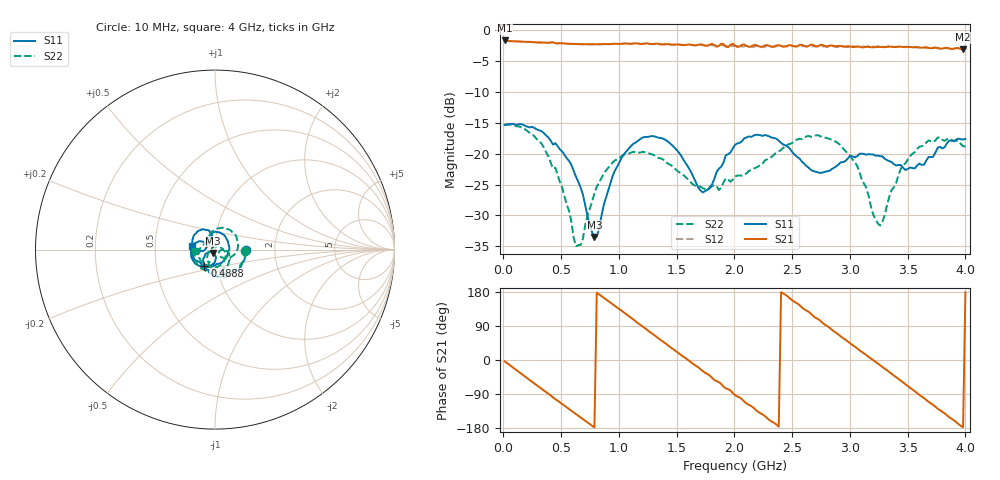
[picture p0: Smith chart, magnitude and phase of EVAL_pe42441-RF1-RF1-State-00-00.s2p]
! 9/28/2016 2:45:29 PM
! C:\USERS\ANRITSUUSER\DESKTOP\SWITCHES\EVAL_PE42441-RF1-RF1-STATE-00-00.S2P
! CHANNEL.1
! TR.MEASUREMENT
! CORRECTED.DATA
# GHZ S RI R 50.0
! FREQ.GHZ  S11RE  S11IM  S21RE  S21IM  S12RE  S12IM  S22RE  S22IM
!; PortSelection: Port_12
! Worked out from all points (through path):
!   201 points, 10 MHz to 4 GHz, reference 50 ohm
!   highest |S21| = -1.76 dB at 10 MHz (marker M1); lowest = -3.2 dB at 3.98 GHz (marker M2)
!   group delay of S21, straight-line fit = 625 ps
!   lowest |S11| = -33.5 dB at 788 MHz (marker M3), VSWR 1.04, Z = 48.9 - j1.77 ohm
!   |S11| at or under -10 dB: start of sweep to end of sweep
!   |S22| runs from -34.9 to -15.3 dB; largest |S21 - S12| = 0.037
!   S11 on the Smith chart (normalised r, x): 10 MHz: 1.41, -0.00; 488.8 MHz: 0.87, -0.16; 4 GHz: 0.77, +0.03
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0.01  0.1702 -0.00139  0.8146 -0.0525  0.8122 -0.061  0.1697 -0.00564
0.26935  0.0576 -0.1497  0.3646 -0.6999  0.3651 -0.6968  0.0421 -0.1301
0.4888  -0.0594 -0.0901  -0.2886 -0.7207  -0.2852 -0.719  -0.0434 -0.0401
0.62845  -0.0563 -0.0322  -0.6084 -0.4613  -0.6066 -0.4632  -0.0127 0.0126
0.6883  -0.0427 -0.0185  -0.6961 -0.31  -0.6928 -0.3128  0.0113 0.0173
0.78805  -0.011 -0.0181  -0.7607 -0.0272  -0.7591 -0.031  0.0479 -0.00284
1.0873  -0.0506 -0.0977  -0.3244 0.6961  -0.3255 0.6956  -0.014 -0.099
1.34665  -0.1334 -0.0118  0.4279 0.6324  0.4221 0.6347  -0.0894 -0.02
1.5262  -0.088 0.0469  0.7292 0.2058  0.7205 0.2092  -0.0643 0.0284
1.6858  -0.0468 0.0258  0.7114 -0.2449  0.7083 -0.2495  -0.0416 0.0346
1.82545  -0.0619 -0.00664  0.4566 -0.5946  0.4672 -0.5783  -0.0455 0.032
2.005  -0.1172 0.00941  -0.0359 -0.7443  -0.0126 -0.7358  -0.042 0.0497
2.1646  -0.122 0.0671  -0.4386 -0.6046  -0.4246 -0.5829  -0.0376 0.0656
2.38405  -0.0597 0.1119  -0.7459 -0.0528  -0.7317 -0.0609  -0.0115 0.1033
2.6833  -0.0186 0.0697  -0.3271 0.6754  -0.3387 0.6495  0.1007 0.0934
2.8429  -0.0301 0.0685  0.1277 0.7333  0.105 0.7271  0.1282 0.0162
3.06235  -0.00834 0.0947  0.627 0.3745  0.6115 0.3877  0.0619 -0.0498
3.2419  0.0452 0.085  0.7144 -0.1184  0.7268 -0.1043  0.023 -0.0146
3.34165  0.0696 0.0516  0.6172 -0.3855  0.6285 -0.3848  0.0449 0.00245
3.6409  0.0112 -0.0803  -0.1299 -0.7049  -0.1215 -0.7054  0.0496 -0.1055
3.98005  -0.1293 0.00789  -0.692 -0.0313  -0.6957 -0.0376  -0.1126 -0.019
4  -0.1301 0.0173  -0.7021 0.0195  -0.7028 0.0137  -0.1141 -0.00683
